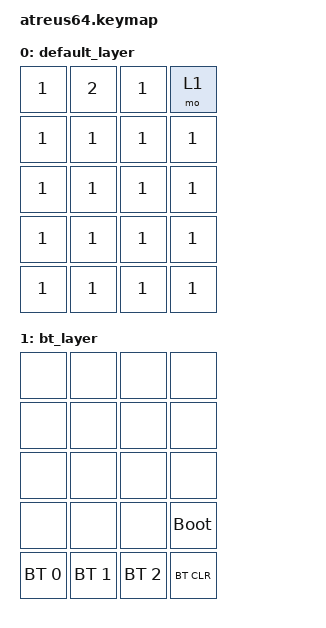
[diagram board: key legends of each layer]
#include<behaviors.dtsi>
#include<dt-bindings/zmk/keys.h>
#include<dt-bindings/zmk/bt.h>

/ {
    keymap {
        compatible = "zmk,keymap";

        default_layer {
            bindings = <
                &kp N1      &kp N2      &kp N1      &mo 1      
                &kp N1      &kp N1      &kp N1      &kp N1      
                &kp N1      &kp N1      &kp N1      &kp N1      
                &kp N1      &kp N1      &kp N1      &kp N1      
                &kp N1      &kp N1      &kp N1      &kp N1      
            >;
        };

        bt_layer {
            bindings = <
                &none        &none        &none        &none      
                &none        &none        &none        &none      
                &none        &none        &none        &none      
                &none        &none        &none        &bootloader      
                &bt BT_SEL 0    &bt BT_SEL 1    &bt BT_SEL 2    &bt BT_CLR      
            >;
        };
    };
};
